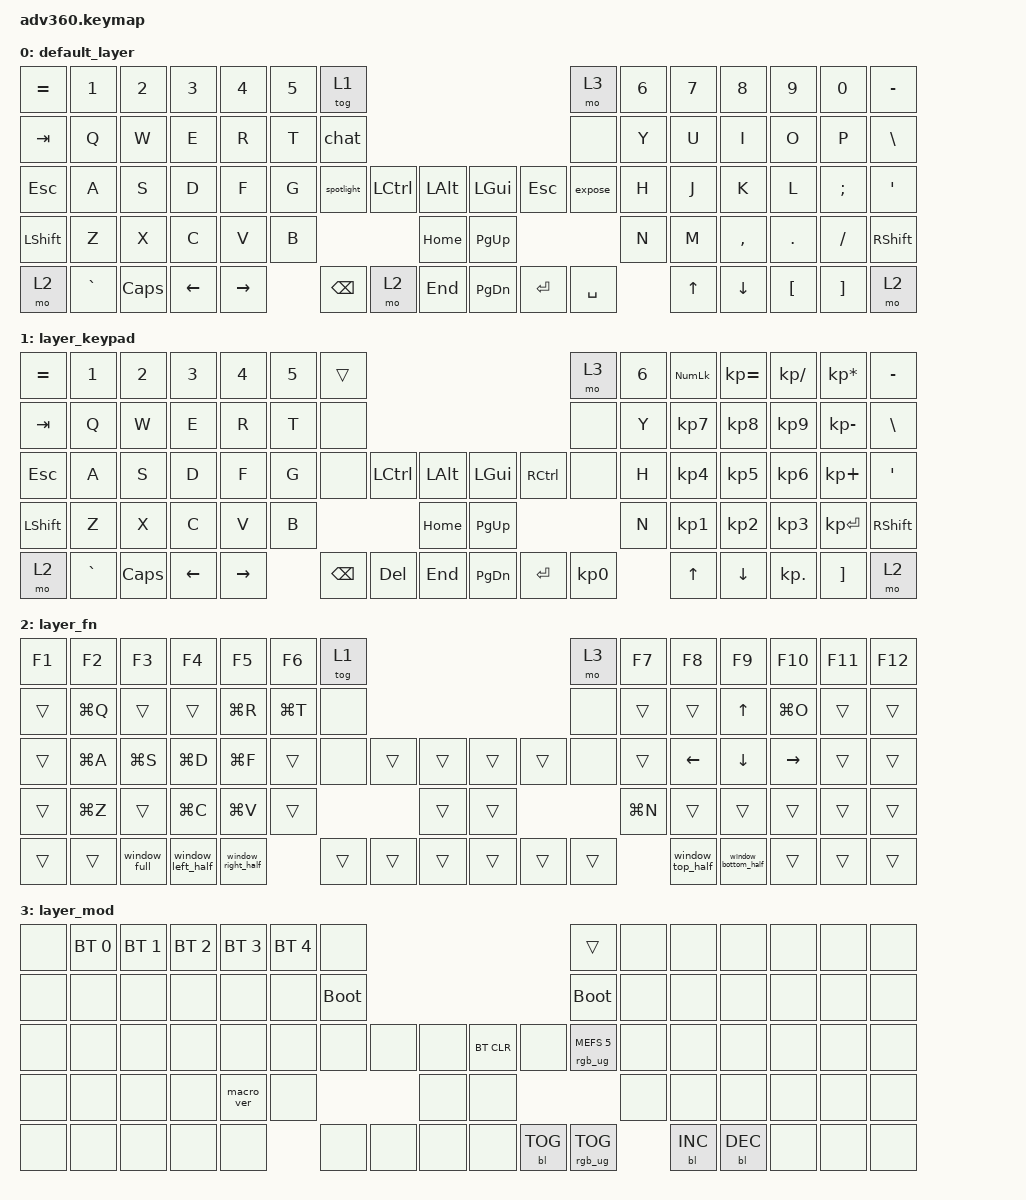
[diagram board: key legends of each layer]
/*
 * Copyright (c) 2020 The ZMK Contributors
 *
 * SPDX-License-Identifier: MIT
 */
/* THIS FILE WAS GENERATED!
 *
 * This file was generated automatically. You may or may not want to
 * edit it directly.
 */

#include <behaviors.dtsi>
#include <dt-bindings/zmk/backlight.h>
#include <dt-bindings/zmk/bt.h>
#include <dt-bindings/zmk/keys.h>
#include <dt-bindings/zmk/rgb.h>

/ {
    behaviors {
        #include "macros.dtsi"
    #include "version.dtsi"

        hm: homerow_mods {
            compatible = "zmk,behavior-hold-tap";
            label = "HOMEROW_MODS";
            #binding-cells = <2>;
            tapping-term-ms = <200>;
            quick_tap_ms = <175>;
            flavor = "tap-preferred";
            bindings = <&kp>, <&kp>;
        };
    };

    macros {
        spotlight: spotlight {
            compatible = "zmk,behavior-macro";
            #binding-cells = <0>;
            bindings = <&kp LG(SPACE)>;
            label = "SPOTLIGHT";
        };

        chat: chat {
            compatible = "zmk,behavior-macro";
            #binding-cells = <0>;
            bindings = <&kp LA(SPACE)>;
            label = "CHAT";
        };

        expose: expose {
            compatible = "zmk,behavior-macro";
            #binding-cells = <0>;
            bindings = <&kp LC(UP_ARROW)>;
            label = "EXPOSE";
        };

        window_left_half: window_left_half {
            compatible = "zmk,behavior-macro";
            #binding-cells = <0>;
            bindings = <&kp LC(LA(LEFT_ARROW))>;
            label = "WINDOW_LEFT_HALF";
        };

        window_right_half: window_right_half {
            compatible = "zmk,behavior-macro";
            #binding-cells = <0>;
            bindings = <&kp LC(LA(RIGHT))>;
            label = "WINDOW_RIGHT_HALF";
        };

        window_full: window_full {
            compatible = "zmk,behavior-macro";
            #binding-cells = <0>;
            bindings = <&kp LC(LA(ENTER))>;
            label = "WINDOW_FULL";
        };

        window_top_half: window_up {
            compatible = "zmk,behavior-macro";
            #binding-cells = <0>;
            bindings = <&kp LC(LA(UP_ARROW))>;
            label = "WINDOW_UP";
        };

        window_bottom_half: window_bottom_half {
            compatible = "zmk,behavior-macro";
            #binding-cells = <0>;
            bindings = <&kp LC(LA(DOWN))>;
            label = "WINDOW_BOTTOM_HALF";
        };
    };

    keymap {
        compatible = "zmk,keymap";

        default_layer {
            bindings = <
&kp EQUAL  &kp N1     &kp N2    &kp N3    &kp N4     &kp N5  &tog 1                                                         &mo 3      &kp N6  &kp N7  &kp N8     &kp N9    &kp N0    &kp MINUS
&kp TAB    &kp Q      &kp W     &kp E     &kp R      &kp T   &chat                                                          &none      &kp Y   &kp U   &kp I      &kp O     &kp P     &kp BSLH
&kp ESC    &kp A      &kp S     &kp D     &kp F      &kp G   &spotlight  &kp LCTRL  &kp LALT      &kp LGUI       &kp ESC    &expose    &kp H   &kp J   &kp K      &kp L     &kp SEMI  &kp SQT
&kp LSHFT  &kp Z      &kp X     &kp C     &kp V      &kp B                          &kp HOME      &kp PAGE_UP                          &kp N   &kp M   &kp COMMA  &kp DOT   &kp FSLH  &kp RSHFT
&mo 2      &kp GRAVE  &kp CAPS  &kp LEFT  &kp RIGHT          &kp BSPC    &mo 2      &kp END       &kp PAGE_DOWN  &kp ENTER  &kp SPACE          &kp UP  &kp DOWN   &kp LBKT  &kp RBKT  &mo 2
            >;
        };

        layer_keypad {
            bindings = <
&kp EQUAL  &kp N1     &kp N2    &kp N3    &kp N4     &kp N5  &trans                                                   &mo 3      &kp N6  &kp KP_NUM  &kp KP_EQUAL  &kp KP_DIVIDE  &kp KP_MULTIPLY  &kp MINUS
&kp TAB    &kp Q      &kp W     &kp E     &kp R      &kp T   &none                                                    &none      &kp Y   &kp KP_N7   &kp KP_N8     &kp KP_N9      &kp KP_MINUS     &kp BSLH
&kp ESC    &kp A      &kp S     &kp D     &kp F      &kp G   &none     &kp LCTRL  &kp LALT      &kp LGUI   &kp RCTRL  &none      &kp H   &kp KP_N4   &kp KP_N5     &kp KP_N6      &kp KP_PLUS      &kp SQT
&kp LSHFT  &kp Z      &kp X     &kp C     &kp V      &kp B                        &kp HOME      &kp PG_UP                        &kp N   &kp KP_N1   &kp KP_N2     &kp KP_N3      &kp KP_ENTER     &kp RSHFT
&mo 2      &kp GRAVE  &kp CAPS  &kp LEFT  &kp RIGHT          &kp BSPC  &kp DEL    &kp END       &kp PG_DN  &kp ENTER  &kp KP_N0          &kp UP      &kp DOWN      &kp KP_DOT     &kp RBKT         &mo 2
            >;
        };

        layer_fn {
            bindings = <
&kp F1  &kp F2     &kp F3        &kp F4             &kp F5              &kp F6     &tog 1                                      &mo 3   &kp F7     &kp F8            &kp F9               &kp F10    &kp F11  &kp F12
&trans  &kp LG(Q)  &trans        &trans             &kp LG(R)           &kp LG(T)  &none                                       &none   &trans     &trans            &kp UP_ARROW         &kp LG(O)  &trans   &trans
&trans  &kp LG(A)  &kp LG(S)     &kp LG(D)          &kp LG(F)           &trans     &none   &trans  &trans      &trans  &trans  &none   &trans     &kp LEFT_ARROW    &kp DOWN_ARROW       &kp RIGHT  &trans   &trans
&trans  &kp LG(Z)  &trans        &kp LG(C)          &kp LG(V)           &trans                     &trans      &trans                  &kp LG(N)  &trans            &trans               &trans     &trans   &trans
&trans  &trans     &window_full  &window_left_half  &window_right_half             &trans  &trans  &trans      &trans  &trans  &trans             &window_top_half  &window_bottom_half  &trans     &trans   &trans
            >;
        };

        layer_mod {
            bindings = <
&none  &bt BT_SEL 0  &bt BT_SEL 1  &bt BT_SEL 2  &bt BT_SEL 3  &bt BT_SEL 4  &none                                                  &trans                  &none  &none       &none       &none  &none  &none
&none  &none         &none         &none         &none         &none         &bootloader                                            &bootloader             &none  &none       &none       &none  &none  &none
&none  &none         &none         &none         &none         &none         &none        &none  &none      &bt BT_CLR  &none       &rgb_ug RGB_MEFS_CMD 5  &none  &none       &none       &none  &none  &none
&none  &none         &none         &none         &macro_ver    &none                             &none      &none                                           &none  &none       &none       &none  &none  &none
&none  &none         &none         &none         &none                       &none        &none  &none      &none       &bl BL_TOG  &rgb_ug RGB_TOG                &bl BL_INC  &bl BL_DEC  &none  &none  &none
            >;
        };
    };
};
